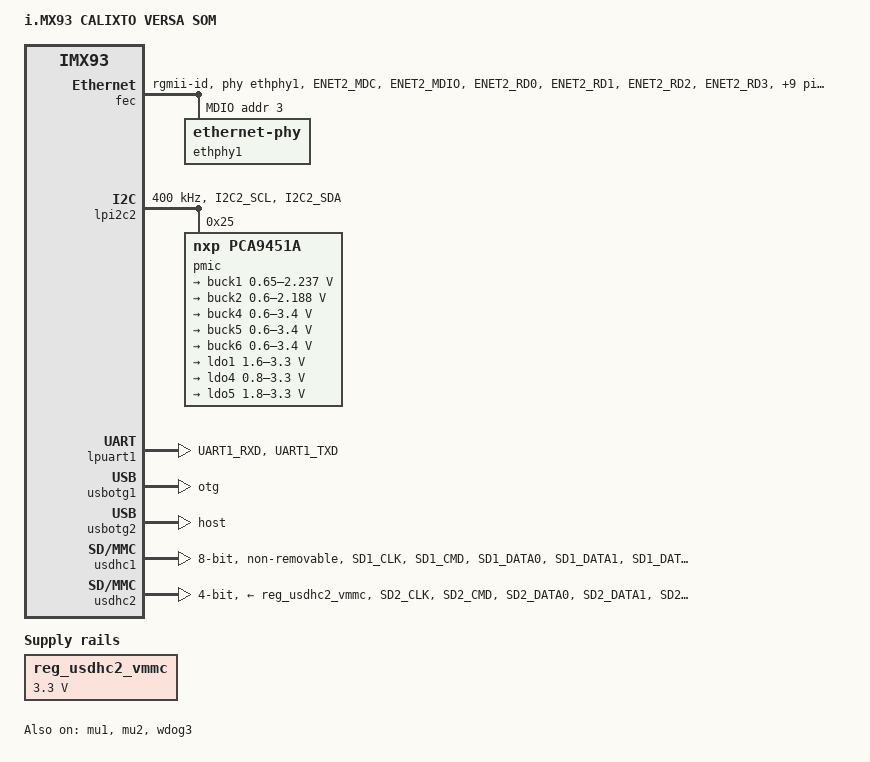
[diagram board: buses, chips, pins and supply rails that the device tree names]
// SPDX-License-Identifier: (GPL-2.0+ OR MIT)
/*
 * Copyright 2022 NXP
 */

/dts-v1/;

#include <dt-bindings/usb/pd.h>
#include "imx93.dtsi"

/ {
	model = "i.MX93 CALIXTO VERSA SOM";
	compatible = "calixto,imx93-calixto-versa_1GB", "fsl,imx93";

	aliases {
		ethernet0 = &fec;
		gpio0 = &gpio1;
		gpio1 = &gpio2;
		gpio2 = &gpio3;
		i2c1 = &lpi2c2;
		mmc0 = &usdhc1;
		mmc1 = &usdhc2;
		serial0 = &lpuart1;
	};
	
	chosen {
		stdout-path = &lpuart1;
	};

	reserved-memory {
		#address-cells = <2>;
		#size-cells = <2>;
		ranges;

		linux,cma {
			compatible = "shared-dma-pool";
			reusable;
			alloc-ranges = <0 0x80000000 0 0x20000000>;
			size = <0 0x08000000>;
			linux,cma-default;
		};
	};

	reg_usdhc2_vmmc: regulator-usdhc2 {
		compatible = "regulator-fixed";
		regulator-name = "VSD_3V3";
		regulator-min-microvolt = <3300000>;
		regulator-max-microvolt = <3300000>;
	};


};

&mu1 {
	status = "okay";
};

&mu2 {
	status = "okay";
};



&fec {
	pinctrl-names = "default";
	pinctrl-0 = <&pinctrl_fec>;
	phy-mode = "rgmii-id";
	phy-handle = <&ethphy1>;
	fsl,magic-packet;
	no-reset-control;
	status = "okay";

	mdio {
		#address-cells = <1>;
		#size-cells = <0>;
		clock-frequency = <5000000>;

		ethphy1: ethernet-phy@3 {
			reg = <3>;
			eee-broken-1000t;
		};
	};
};

&lpi2c2 {
	#address-cells = <1>;
	#size-cells = <0>;
	clock-frequency = <400000>;
	pinctrl-names = "default", "sleep";
	pinctrl-0 = <&pinctrl_lpi2c2>;
	pinctrl-1 = <&pinctrl_lpi2c2>;
	status = "okay";

	pmic@25 {
		compatible = "nxp,pca9451a";
		reg = <0x25>;

		regulators {
			buck1: BUCK1 {
				regulator-name = "BUCK1";
				regulator-min-microvolt = <650000>;
				regulator-max-microvolt = <2237500>;
				regulator-boot-on;
				regulator-always-on;
				regulator-ramp-delay = <3125>;
			};

			buck2: BUCK2 {
				regulator-name = "BUCK2";
				regulator-min-microvolt = <600000>;
				regulator-max-microvolt = <2187500>;
				regulator-boot-on;
				regulator-always-on;
				regulator-ramp-delay = <3125>;
			};

			buck4: BUCK4{
				regulator-name = "BUCK4";
				regulator-min-microvolt = <600000>;
				regulator-max-microvolt = <3400000>;
				regulator-boot-on;
				regulator-always-on;
			};

			buck5: BUCK5{
				regulator-name = "BUCK5";
				regulator-min-microvolt = <600000>;
				regulator-max-microvolt = <3400000>;
				regulator-boot-on;
				regulator-always-on;
			};

			buck6: BUCK6 {
				regulator-name = "BUCK6";
				regulator-min-microvolt = <600000>;
				regulator-max-microvolt = <3400000>;
				regulator-boot-on;
				regulator-always-on;
			};

			ldo1: LDO1 {
				regulator-name = "LDO1";
				regulator-min-microvolt = <1600000>;
				regulator-max-microvolt = <3300000>;
				regulator-boot-on;
				regulator-always-on;
			};

			ldo4: LDO4 {
				regulator-name = "LDO4";
				regulator-min-microvolt = <800000>;
				regulator-max-microvolt = <3300000>;
				regulator-boot-on;
				regulator-always-on;
			};

			ldo5: LDO5 {
				regulator-name = "LDO5";
				regulator-min-microvolt = <1800000>;
				regulator-max-microvolt = <3300000>;
				regulator-boot-on;
				regulator-always-on;
			};
		};
	};

};

&lpuart1 { /* console */
	pinctrl-names = "default";
	pinctrl-0 = <&pinctrl_uart1>;
	status = "okay";
};

&usbotg1 {
	dr_mode = "otg";
	disable-over-current;
	status = "okay";
};

&usbotg2 {
	dr_mode = "host";
        disable-over-current;
	status = "okay";
};

&usdhc1 {
	pinctrl-names = "default", "state_100mhz", "state_200mhz";
	pinctrl-0 = <&pinctrl_usdhc1>;
	pinctrl-1 = <&pinctrl_usdhc1_100mhz>;
	pinctrl-2 = <&pinctrl_usdhc1_200mhz>;
	bus-width = <8>;
	non-removable;
	status = "okay";
};

&usdhc2 {
	pinctrl-names = "default";
	pinctrl-0 = <&pinctrl_usdhc2>, <&pinctrl_usdhc2_gpio>;
	cd-gpios = <&gpio3 00 GPIO_ACTIVE_LOW>;
	vmmc-supply = <&reg_usdhc2_vmmc>;
	bus-width = <4>;
	max-frequency = <50000000>;
	status = "okay";
	no-mmc;
	no-1-8-v;
};

&usdhc3 {
	status = "disabled";
};

&wdog3 {
	status = "okay";
};

&iomuxc {

	pinctrl_fec: fecgrp {
		fsl,pins = <
			MX93_PAD_ENET2_MDC__ENET1_MDC			0x57e
			MX93_PAD_ENET2_MDIO__ENET1_MDIO			0x57e
			MX93_PAD_ENET2_RD0__ENET1_RGMII_RD0		0x57e
			MX93_PAD_ENET2_RD1__ENET1_RGMII_RD1		0x57e
			MX93_PAD_ENET2_RD2__ENET1_RGMII_RD2		0x57e
			MX93_PAD_ENET2_RD3__ENET1_RGMII_RD3		0x57e
			MX93_PAD_ENET2_RXC__ENET1_RGMII_RXC		0x5fe
			MX93_PAD_ENET2_RX_CTL__ENET1_RGMII_RX_CTL	0x57e
			MX93_PAD_ENET2_TD0__ENET1_RGMII_TD0		0x57e
			MX93_PAD_ENET2_TD1__ENET1_RGMII_TD1		0x57e
			MX93_PAD_ENET2_TD2__ENET1_RGMII_TD2		0x57e
			MX93_PAD_ENET2_TD3__ENET1_RGMII_TD3		0x57e
			MX93_PAD_ENET2_TXC__ENET1_RGMII_TXC		0x5fe
			MX93_PAD_ENET2_TX_CTL__ENET1_RGMII_TX_CTL	0x57e
			MX93_PAD_ENET1_TD1__GPIO4_IO04	        0x31e
		>;
	};

	pinctrl_lpi2c2: lpi2c2grp {
		fsl,pins = <
			MX93_PAD_I2C2_SCL__LPI2C2_SCL			0x40000b9e
			MX93_PAD_I2C2_SDA__LPI2C2_SDA			0x40000b9e
		>;
	};

	pinctrl_uart1: uart1grp {
		fsl,pins = <
			MX93_PAD_UART1_RXD__LPUART1_RX			0x31e
			MX93_PAD_UART1_TXD__LPUART1_TX			0x31e
		>;
	};

	/* need to config the SION for data and cmd pad, refer to ERR052021 */
	pinctrl_usdhc1: usdhc1grp {
		fsl,pins = <
			MX93_PAD_SD1_CLK__USDHC1_CLK		0x1582
			MX93_PAD_SD1_CMD__USDHC1_CMD		0x40001382
			MX93_PAD_SD1_DATA0__USDHC1_DATA0	0x40001382
			MX93_PAD_SD1_DATA1__USDHC1_DATA1	0x40001382
			MX93_PAD_SD1_DATA2__USDHC1_DATA2	0x40001382
			MX93_PAD_SD1_DATA3__USDHC1_DATA3	0x40001382
			MX93_PAD_SD1_DATA4__USDHC1_DATA4	0x40001382
			MX93_PAD_SD1_DATA5__USDHC1_DATA5	0x40001382
			MX93_PAD_SD1_DATA6__USDHC1_DATA6	0x40001382
			MX93_PAD_SD1_DATA7__USDHC1_DATA7	0x40001382
			MX93_PAD_SD1_STROBE__USDHC1_STROBE	0x1582
		>;
	};
	
	/* need to config the SION for data and cmd pad, refer to ERR052021 */
	pinctrl_usdhc1_100mhz: usdhc1-100mhzgrp {
		fsl,pins = <
			MX93_PAD_SD1_CLK__USDHC1_CLK		0x158e
			MX93_PAD_SD1_CMD__USDHC1_CMD		0x4000138e
			MX93_PAD_SD1_DATA0__USDHC1_DATA0	0x4000138e
			MX93_PAD_SD1_DATA1__USDHC1_DATA1	0x4000138e
			MX93_PAD_SD1_DATA2__USDHC1_DATA2	0x4000138e
			MX93_PAD_SD1_DATA3__USDHC1_DATA3	0x4000138e
			MX93_PAD_SD1_DATA4__USDHC1_DATA4	0x4000138e
			MX93_PAD_SD1_DATA5__USDHC1_DATA5	0x4000138e
			MX93_PAD_SD1_DATA6__USDHC1_DATA6	0x4000138e
			MX93_PAD_SD1_DATA7__USDHC1_DATA7	0x4000138e
			MX93_PAD_SD1_STROBE__USDHC1_STROBE	0x158e
		>;
	};

	/* need to config the SION for data and cmd pad, refer to ERR052021 */
	pinctrl_usdhc1_200mhz: usdhc1-200mhzgrp {
		fsl,pins = <
			MX93_PAD_SD1_CLK__USDHC1_CLK		0x15fe
			MX93_PAD_SD1_CMD__USDHC1_CMD		0x400013fe
			MX93_PAD_SD1_DATA0__USDHC1_DATA0	0x400013fe
			MX93_PAD_SD1_DATA1__USDHC1_DATA1	0x400013fe
			MX93_PAD_SD1_DATA2__USDHC1_DATA2	0x400013fe
			MX93_PAD_SD1_DATA3__USDHC1_DATA3	0x400013fe
			MX93_PAD_SD1_DATA4__USDHC1_DATA4	0x400013fe
			MX93_PAD_SD1_DATA5__USDHC1_DATA5	0x400013fe
			MX93_PAD_SD1_DATA6__USDHC1_DATA6	0x400013fe
			MX93_PAD_SD1_DATA7__USDHC1_DATA7	0x400013fe
			MX93_PAD_SD1_STROBE__USDHC1_STROBE	0x15fe
		>;
	};

	pinctrl_usdhc2_gpio: usdhc2gpiogrp {
		fsl,pins = <
			MX93_PAD_SD2_CD_B__GPIO3_IO00		0x31e
		>;
	};

	pinctrl_usdhc2_gpio_sleep: usdhc2gpiogrpsleep {
		fsl,pins = <
			MX93_PAD_SD2_CD_B__GPIO3_IO00		0x51e
		>;
	};

	/* need to config the SION for data and cmd pad, refer to ERR052021 */
	pinctrl_usdhc2: usdhc2grp {
		fsl,pins = <
			MX93_PAD_SD2_CLK__USDHC2_CLK		0x1582
			MX93_PAD_SD2_CMD__USDHC2_CMD		0x40001382
			MX93_PAD_SD2_DATA0__USDHC2_DATA0	0x40001382
			MX93_PAD_SD2_DATA1__USDHC2_DATA1	0x40001382
			MX93_PAD_SD2_DATA2__USDHC2_DATA2	0x40001382
			MX93_PAD_SD2_DATA3__USDHC2_DATA3	0x40001382
			//MX93_PAD_SD2_VSELECT__USDHC2_VSELECT	0x51e
		>;
	};

};
